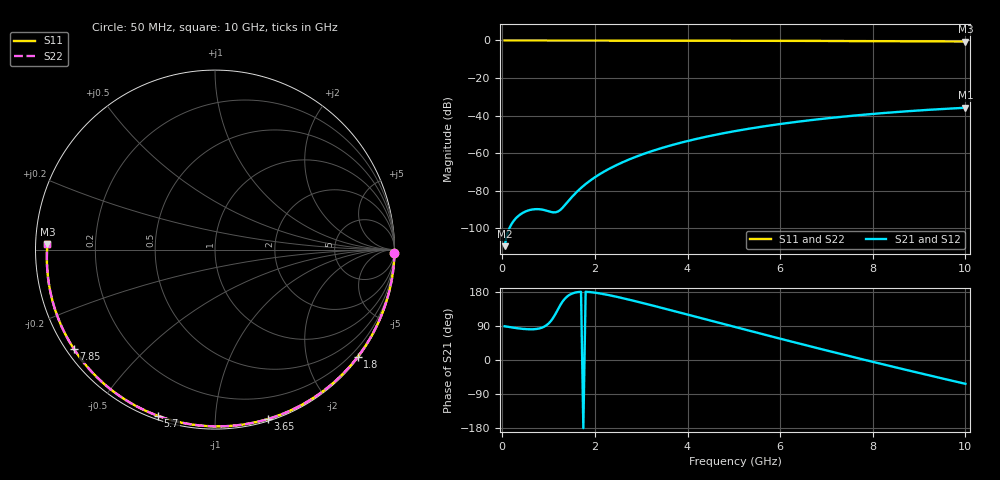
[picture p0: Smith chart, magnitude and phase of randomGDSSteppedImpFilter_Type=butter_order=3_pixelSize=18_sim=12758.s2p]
! freq	dB(S11)	phase(S11)	dB(S12)	phase(S12)
!  dB(S21)	phase(S21)	dB(S22)	phase(S22)
!S-par simulation data
#  GHz  S  DB  R 50
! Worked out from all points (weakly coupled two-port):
!   200 points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, 50 MHz to 10 GHz, reference 50 ohm
!   highest |S21| = -35.87 dB at 10 GHz (marker M1); lowest = -109.6 dB at 50 MHz (marker M2)
!   lowest |S11| = -0.6 dB at 10 GHz (marker M3), VSWR 29.40, Z = 1.7 + j0.786 ohm
!   |S11| at or under -10 dB: nowhere
!   |S22| runs from -0.6 to 0.0 dB; largest |S21 - S12| = 0
!   S11 on the Smith chart (normalised r, x): 50 MHz: open; 1.8 GHz: 0.03, -2.99; 3.65 GHz: 0.02, -1.36; 5.7 GHz: 0.02, -0.71; 7.85 GHz: 0.02, -0.32; 10 GHz: 0.03, +0.02
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0.05  -0.00 -1.0  -109.61 89.0  -109.61 89.0  -0.00 -1.0
0.4  -0.01 -8.4  -92.51 82.7  -92.51 82.7  -0.01 -8.4
0.8  -0.02 -16.7  -89.93 83.3  -89.93 83.3  -0.02 -16.7
1.6  -0.04 -33.0  -80.92 178.6  -80.92 178.6  -0.04 -33.0
1.65  -0.04 -34.0  -79.72 179.5  -79.72 179.5  -0.04 -34.0
1.75  -0.05 -36.0  -77.52 -179.9  -77.52 -179.9  -0.05 -36.0
1.8  -0.05 -37.0  -76.50 180.0  -76.50 180.0  -0.05 -37.0
2.1  -0.05 -42.9  -71.31 175.8  -71.31 175.8  -0.05 -42.9
2.45  -0.06 -49.8  -66.60 167.3  -66.60 167.3  -0.06 -49.8
2.9  -0.08 -58.5  -61.84 154.4  -61.84 154.4  -0.08 -58.5
3.4  -0.09 -68.0  -57.63 138.9  -57.63 138.9  -0.09 -68.0
3.65  -0.10 -72.6  -55.84 131.0  -55.84 131.0  -0.10 -72.6
4.35  -0.12 -85.4  -51.58 108.6  -51.58 108.6  -0.12 -85.4
5.05  -0.15 -97.7  -48.19 86.2  -48.19 86.2  -0.15 -97.7
5.7  -0.18 -108.9  -45.59 65.6  -45.59 65.6  -0.18 -108.9
6.2  -0.21 -117.3  -43.87 50.0  -43.87 50.0  -0.21 -117.3
6.7  -0.25 -125.7  -42.35 34.5  -42.35 34.5  -0.25 -125.7
7.3  -0.29 -135.6  -40.75 16.2  -40.75 16.2  -0.29 -135.6
7.85  -0.34 -144.7  -39.47 -0.4  -39.47 -0.4  -0.34 -144.7
8.35  -0.39 -153.1  -38.44 -15.2  -38.44 -15.2  -0.39 -153.1
9.2  -0.49 -167.6  -36.97 -40.0  -36.97 -40.0  -0.49 -167.6
10  -0.59 178.2  -35.87 -62.8  -35.87 -62.8  -0.59 178.2
